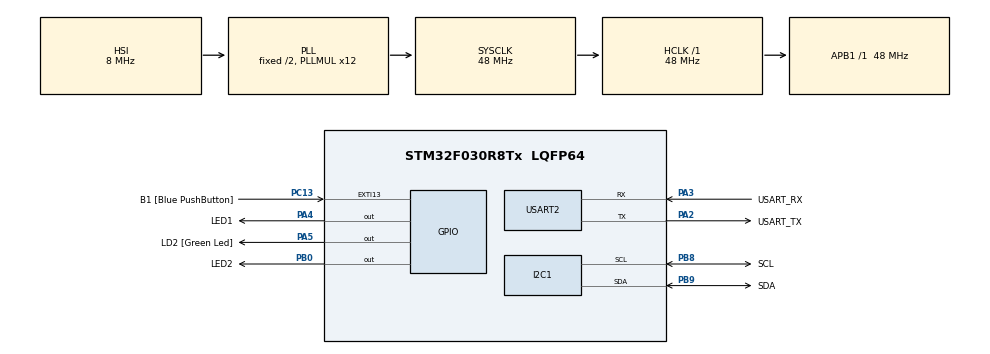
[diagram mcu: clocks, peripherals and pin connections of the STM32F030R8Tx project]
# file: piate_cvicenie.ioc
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Dma.Request0=USART2_RX
Dma.USART2_RX.0.Direction=DMA_PERIPH_TO_MEMORY
Dma.USART2_RX.0.Instance=DMA1_Channel5
Dma.USART2_RX.0.MemDataAlignment=DMA_MDATAALIGN_BYTE
Dma.USART2_RX.0.MemInc=DMA_MINC_ENABLE
Dma.USART2_RX.0.Mode=DMA_CIRCULAR
Dma.USART2_RX.0.PeriphDataAlignment=DMA_PDATAALIGN_BYTE
Dma.USART2_RX.0.PeriphInc=DMA_PINC_DISABLE
Dma.USART2_RX.0.Priority=DMA_PRIORITY_LOW
Mcu.Family=STM32F0
Mcu.Name=STM32F030R8Tx
Mcu.Package=LQFP64
NVIC.DMA1_Channel4_5_IRQn=true\:0\:0\:false\:false\:true\:false\:true
PA13.GPIO_Label=TMS
PA13.Mode=Serial_Wire
PA13.Signal=SYS_SWDIO
PA14.GPIO_Label=TCK
PA14.Mode=Serial_Wire
PA14.Signal=SYS_SWCLK
PA2.GPIO_Label=USART_TX
PA2.GPIO_Mode=GPIO_MODE_AF_PP
PA2.GPIO_PuPd=GPIO_NOPULL
PA2.GPIO_Speed=GPIO_SPEED_FREQ_LOW
PA2.Mode=Asynchronous
PA2.Signal=USART2_TX
PA3.GPIO_Label=USART_RX
PA3.GPIO_Mode=GPIO_MODE_AF_PP
PA3.GPIO_PuPd=GPIO_NOPULL
PA3.GPIO_Speed=GPIO_SPEED_FREQ_LOW
PA3.Mode=Asynchronous
PA3.Signal=USART2_RX
PA4.GPIO_Label=LED1
PA4.Signal=GPIO_Output
PA5.GPIO_Label=LD2 [Green Led]
PA5.GPIO_Mode=GPIO_MODE_OUTPUT_PP
PA5.GPIO_PuPd=GPIO_NOPULL
PA5.GPIO_Speed=GPIO_SPEED_FREQ_LOW
PA5.Signal=GPIO_Output
PB0.GPIO_Label=LED2
PB0.Signal=GPIO_Output
PB8.GPIO_Label=SCL
PB8.Mode=I2C
PB8.Signal=I2C1_SCL
PB9.GPIO_Label=SDA
PB9.Mode=I2C
PB9.Signal=I2C1_SDA
PC13.GPIO_Label=B1 [Blue PushButton]
PC13.GPIO_ModeDefaultEXTI=GPIO_MODE_IT_FALLING
PC13.Signal=GPXTI13
PC14-OSC32_IN.Mode=LSE-External-Oscillator
PC14-OSC32_IN.Signal=RCC_OSC32_IN
PC15-OSC32_OUT.Mode=LSE-External-Oscillator
PC15-OSC32_OUT.Signal=RCC_OSC32_OUT
PF0-OSC_IN.Mode=HSE-External-Clock-Source
PF0-OSC_IN.Signal=RCC_OSC_IN
PF1-OSC_OUT.Signal=RCC_OSC_OUT
ProjectManager.HeapSize=0x200
ProjectManager.StackSize=0x400
ProjectManager.TargetToolchain=STM32CubeIDE
RCC.AHBFreq_Value=48000000
RCC.APB1Freq_Value=48000000
RCC.APB1TimFreq_Value=48000000
RCC.HCLKFreq_Value=48000000
RCC.PLLMUL=RCC_PLL_MUL12
RCC.SYSCLKFreq_VALUE=48000000
RCC.SYSCLKSource=RCC_SYSCLKSOURCE_PLLCLK
USART2.VirtualMode-Asynchronous=VM_ASYNC
board=NUCLEO-F030R8

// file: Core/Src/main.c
/* USER CODE BEGIN Header */
/**
  ******************************************************************************
  * @file           : main.c
  * @brief          : Main program body
  ******************************************************************************
  * @attention
  *
  * <h2><center>&copy; Copyright (c) 2021 STMicroelectronics.
  * All rights reserved.</center></h2>
  *
  * This software component is licensed by ST under BSD 3-Clause license,
  * the "License"; You may not use this file except in compliance with the
  * License. You may obtain a copy of the License at:
  *                        opensource.org/licenses/BSD-3-Clause
  *
  ******************************************************************************
  */
/* USER CODE END Header */
#include "main.h"

/* USER CODE BEGIN Includes */
#include <stdio.h>
#include <string.h>
#include <stdlib.h>
/* USER CODE END Includes */

I2C_HandleTypeDef hi2c1;

UART_HandleTypeDef huart2;
DMA_HandleTypeDef hdma_usart2_rx;

/* USER CODE BEGIN PV */
#define EEPROM_ADDR 0xA0
#define CMD_BUFFER_LEN 64

#define RX_BUFFER_LEN 64
static uint8_t uart_rx_buf[RX_BUFFER_LEN];
static volatile uint16_t uart_rx_read_ptr = 0;
#define uart_rx_write_ptr (RX_BUFFER_LEN - hdma_usart2_rx.Instance->CNDTR)
/* USER CODE END PV */

void SystemClock_Config(void);
static void MX_GPIO_Init(void);
static void MX_DMA_Init(void);
static void MX_USART2_UART_Init(void);
static void MX_I2C1_Init(void);
/* USER CODE BEGIN PFP */

int _write(int file, char const *buf, int n)
{
 /* stdout redirection to UART2 */
 HAL_UART_Transmit(&huart2, (uint8_t*)(buf), n, HAL_MAX_DELAY);
 return n;
}

/*
 *	HELLO
 	LED1 ON|OFF
 	LED2 ON|OFF
 	STATUS
 */

static void uart_process_command(char *cmd)
{
	//printf("prijato: '%s'\n", cmd);
	char *token;

	token = strtok(cmd, " ");
	if (strcasecmp(token, "HELLO") == 0) {
		printf("Komunikace OK\n");
	}
	else if (strcasecmp(token, "LED1") == 0) {
		token = strtok(NULL, " ");
		if(strcasecmp(token, "ON") == 0){
			HAL_GPIO_WritePin(LED1_GPIO_Port, LED1_Pin, GPIO_PIN_SET);
			printf("OK\n");
		}

		else if(strcasecmp(token, "OFF") == 0){
			HAL_GPIO_WritePin(LED1_GPIO_Port, LED1_Pin, GPIO_PIN_RESET);
			printf("OK\n");
		}
	}
	else if (strcasecmp(token, "LED2") == 0) {
		token = strtok(NULL, " ");
		if(strcasecmp(token, "ON") == 0){
			HAL_GPIO_WritePin(LED2_GPIO_Port, LED2_Pin, GPIO_PIN_SET);
			printf("OK\n");
		}

		else if(strcasecmp(token, "OFF") == 0){
			HAL_GPIO_WritePin(LED2_GPIO_Port, LED2_Pin, GPIO_PIN_RESET);
			printf("OK\n");
		}
	}
	else if (strcasecmp(token, "STATUS") == 0) {
		printf("Stav: LED1 = ");
		if(HAL_GPIO_ReadPin(LED1_GPIO_Port, LED1_Pin) == GPIO_PIN_SET)
			printf("ON \n");
		else
			printf("OFF \n");

		printf("Stav: LED2 = ");

		if(HAL_GPIO_ReadPin(LED2_GPIO_Port, LED2_Pin) == GPIO_PIN_SET)
			printf("ON");
		else
			printf("OFF");
		printf("\n");

	}
	else if (strcasecmp(token, "READ") == 0) {
		token = strtok(NULL, " ");
		uint16_t addr = atoi(token);
		uint8_t value;
		HAL_I2C_Mem_Read(&hi2c1, EEPROM_ADDR, addr, I2C_MEMADD_SIZE_16BIT, &value, 1, 1000);

		printf("Adresa 0x%04X = 0x%02X\n",addr,value);

	}

	else if (strcasecmp(token, "WRITE") == 0) {
		token = strtok(NULL, " ");
		uint16_t addr = atoi(token);
		token = strtok(NULL, " ");
		uint8_t value = atoi(token);
		HAL_I2C_Mem_Write(&hi2c1, EEPROM_ADDR, addr, I2C_MEMADD_SIZE_16BIT, &value, 1, 1000);

		/* Check if the EEPROM is ready for a new operation */
		while (HAL_I2C_IsDeviceReady(&hi2c1, EEPROM_ADDR, 300, 1000) == HAL_TIMEOUT) {}

		printf("OK\n");
	}

	else if (strcasecmp(token, "DUMP") == 0) {
			uint8_t value[0xF];
			HAL_I2C_Mem_Read(&hi2c1, EEPROM_ADDR, 0, I2C_MEMADD_SIZE_16BIT, value, 0xF, 1000);

			uint16_t i = 0;

			for(; i < 0x8; i++){
				printf("%02X ", value[i]);
			}
			printf("\n");

			for(; i <= 0xF; i++){
				printf("%02X ", value[i]);
			}
			printf("\n");
		}
		else{
			printf("Neznamy prikaz!\n");
	 	}

}

	static void uart_byte_available(uint8_t c)
	{
		static uint16_t cnt;
		static char data[CMD_BUFFER_LEN];

		if (cnt < CMD_BUFFER_LEN && c >= 32 && c <= 126)
			data[cnt++] = c;
		if ((c == '\n' || c == '\r') && cnt > 0) {
			data[cnt] = '\0';
			uart_process_command(data);
			cnt = 0;
		}
	}
/* USER CODE END PFP */

int main(void)
{

  /* MCU Configuration--------------------------------------------------------*/

  /* Reset of all peripherals, Initializes the Flash interface and the Systick. */
  HAL_Init();

  /* Configure the system clock */
  SystemClock_Config();

  /* Initialize all configured peripherals */
  MX_GPIO_Init();
  MX_DMA_Init();
  MX_USART2_UART_Init();
  MX_I2C1_Init();
  /* USER CODE BEGIN 2 */

  HAL_UART_Receive_DMA(&huart2, uart_rx_buf, RX_BUFFER_LEN);
  /* USER CODE END 2 */

  /* Infinite loop */
  while (1)
  {

    /* USER CODE BEGIN 3 */
	  while (uart_rx_read_ptr != uart_rx_write_ptr) {
	  	  		  uint8_t b = uart_rx_buf[uart_rx_read_ptr];
	  	  		  if (++uart_rx_read_ptr >= RX_BUFFER_LEN)
	  	  			  uart_rx_read_ptr = 0; // increase read pointer
	  	  		  uart_byte_available(b); // process every received byte with the RX state machine
	  	  	  }
  }
  /* USER CODE END 3 */
}

void SystemClock_Config(void)
{
  RCC_OscInitTypeDef RCC_OscInitStruct = {0};
  RCC_ClkInitTypeDef RCC_ClkInitStruct = {0};
  RCC_PeriphCLKInitTypeDef PeriphClkInit = {0};

  /** Initializes the RCC Oscillators according to the specified parameters
  * in the RCC_OscInitTypeDef structure.
  */
  RCC_OscInitStruct.OscillatorType = RCC_OSCILLATORTYPE_HSI;
  RCC_OscInitStruct.HSIState = RCC_HSI_ON;
  RCC_OscInitStruct.HSICalibrationValue = RCC_HSICALIBRATION_DEFAULT;
  RCC_OscInitStruct.PLL.PLLState = RCC_PLL_ON;
  RCC_OscInitStruct.PLL.PLLSource = RCC_PLLSOURCE_HSI;
  RCC_OscInitStruct.PLL.PLLMUL = RCC_PLL_MUL12;
  RCC_OscInitStruct.PLL.PREDIV = RCC_PREDIV_DIV1;
  if (HAL_RCC_OscConfig(&RCC_OscInitStruct) != HAL_OK)
  {
    Error_Handler();
  }
  /** Initializes the CPU, AHB and APB buses clocks
  */
  RCC_ClkInitStruct.ClockType = RCC_CLOCKTYPE_HCLK|RCC_CLOCKTYPE_SYSCLK
                              |RCC_CLOCKTYPE_PCLK1;
  RCC_ClkInitStruct.SYSCLKSource = RCC_SYSCLKSOURCE_PLLCLK;
  RCC_ClkInitStruct.AHBCLKDivider = RCC_SYSCLK_DIV1;
  RCC_ClkInitStruct.APB1CLKDivider = RCC_HCLK_DIV1;

  if (HAL_RCC_ClockConfig(&RCC_ClkInitStruct, FLASH_LATENCY_1) != HAL_OK)
  {
    Error_Handler();
  }
  PeriphClkInit.PeriphClockSelection = RCC_PERIPHCLK_I2C1;
  PeriphClkInit.I2c1ClockSelection = RCC_I2C1CLKSOURCE_HSI;
  if (HAL_RCCEx_PeriphCLKConfig(&PeriphClkInit) != HAL_OK)
  {
    Error_Handler();
  }
}

static void MX_I2C1_Init(void)
{

  hi2c1.Instance = I2C1;
  hi2c1.Init.Timing = 0x2000090E;
  hi2c1.Init.OwnAddress1 = 0;
  hi2c1.Init.AddressingMode = I2C_ADDRESSINGMODE_7BIT;
  hi2c1.Init.DualAddressMode = I2C_DUALADDRESS_DISABLE;
  hi2c1.Init.OwnAddress2 = 0;
  hi2c1.Init.OwnAddress2Masks = I2C_OA2_NOMASK;
  hi2c1.Init.GeneralCallMode = I2C_GENERALCALL_DISABLE;
  hi2c1.Init.NoStretchMode = I2C_NOSTRETCH_DISABLE;
  if (HAL_I2C_Init(&hi2c1) != HAL_OK)
  {
    Error_Handler();
  }
  /** Configure Analogue filter
  */
  if (HAL_I2CEx_ConfigAnalogFilter(&hi2c1, I2C_ANALOGFILTER_ENABLE) != HAL_OK)
  {
    Error_Handler();
  }
  /** Configure Digital filter
  */
  if (HAL_I2CEx_ConfigDigitalFilter(&hi2c1, 0) != HAL_OK)
  {
    Error_Handler();
  }

}

static void MX_USART2_UART_Init(void)
{

  huart2.Instance = USART2;
  huart2.Init.BaudRate = 38400;
  huart2.Init.WordLength = UART_WORDLENGTH_8B;
  huart2.Init.StopBits = UART_STOPBITS_1;
  huart2.Init.Parity = UART_PARITY_NONE;
  huart2.Init.Mode = UART_MODE_TX_RX;
  huart2.Init.HwFlowCtl = UART_HWCONTROL_NONE;
  huart2.Init.OverSampling = UART_OVERSAMPLING_16;
  huart2.Init.OneBitSampling = UART_ONE_BIT_SAMPLE_DISABLE;
  huart2.AdvancedInit.AdvFeatureInit = UART_ADVFEATURE_NO_INIT;
  if (HAL_UART_Init(&huart2) != HAL_OK)
  {
    Error_Handler();
  }

}

static void MX_DMA_Init(void)
{

  /* DMA controller clock enable */
  __HAL_RCC_DMA1_CLK_ENABLE();

  /* DMA interrupt init */
  /* DMA1_Channel4_5_IRQn interrupt configuration */
  HAL_NVIC_SetPriority(DMA1_Channel4_5_IRQn, 0, 0);
  HAL_NVIC_EnableIRQ(DMA1_Channel4_5_IRQn);

}

static void MX_GPIO_Init(void)
{
  GPIO_InitTypeDef GPIO_InitStruct = {0};

  /* GPIO Ports Clock Enable */
  __HAL_RCC_GPIOC_CLK_ENABLE();
  __HAL_RCC_GPIOF_CLK_ENABLE();
  __HAL_RCC_GPIOA_CLK_ENABLE();
  __HAL_RCC_GPIOB_CLK_ENABLE();

  /*Configure GPIO pin Output Level */
  HAL_GPIO_WritePin(GPIOA, LED1_Pin|LD2_Pin, GPIO_PIN_RESET);

  /*Configure GPIO pin Output Level */
  HAL_GPIO_WritePin(LED2_GPIO_Port, LED2_Pin, GPIO_PIN_RESET);

  /*Configure GPIO pin : B1_Pin */
  GPIO_InitStruct.Pin = B1_Pin;
  GPIO_InitStruct.Mode = GPIO_MODE_IT_FALLING;
  GPIO_InitStruct.Pull = GPIO_NOPULL;
  HAL_GPIO_Init(B1_GPIO_Port, &GPIO_InitStruct);

  /*Configure GPIO pins : LED1_Pin LD2_Pin */
  GPIO_InitStruct.Pin = LED1_Pin|LD2_Pin;
  GPIO_InitStruct.Mode = GPIO_MODE_OUTPUT_PP;
  GPIO_InitStruct.Pull = GPIO_NOPULL;
  GPIO_InitStruct.Speed = GPIO_SPEED_FREQ_LOW;
  HAL_GPIO_Init(GPIOA, &GPIO_InitStruct);

  /*Configure GPIO pin : LED2_Pin */
  GPIO_InitStruct.Pin = LED2_Pin;
  GPIO_InitStruct.Mode = GPIO_MODE_OUTPUT_PP;
  GPIO_InitStruct.Pull = GPIO_NOPULL;
  GPIO_InitStruct.Speed = GPIO_SPEED_FREQ_LOW;
  HAL_GPIO_Init(LED2_GPIO_Port, &GPIO_InitStruct);

}

void Error_Handler(void)
{
  __disable_irq();
  while (1)
  {
  }
}

/************************ (C) COPYRIGHT STMicroelectronics *****END OF FILE****/
